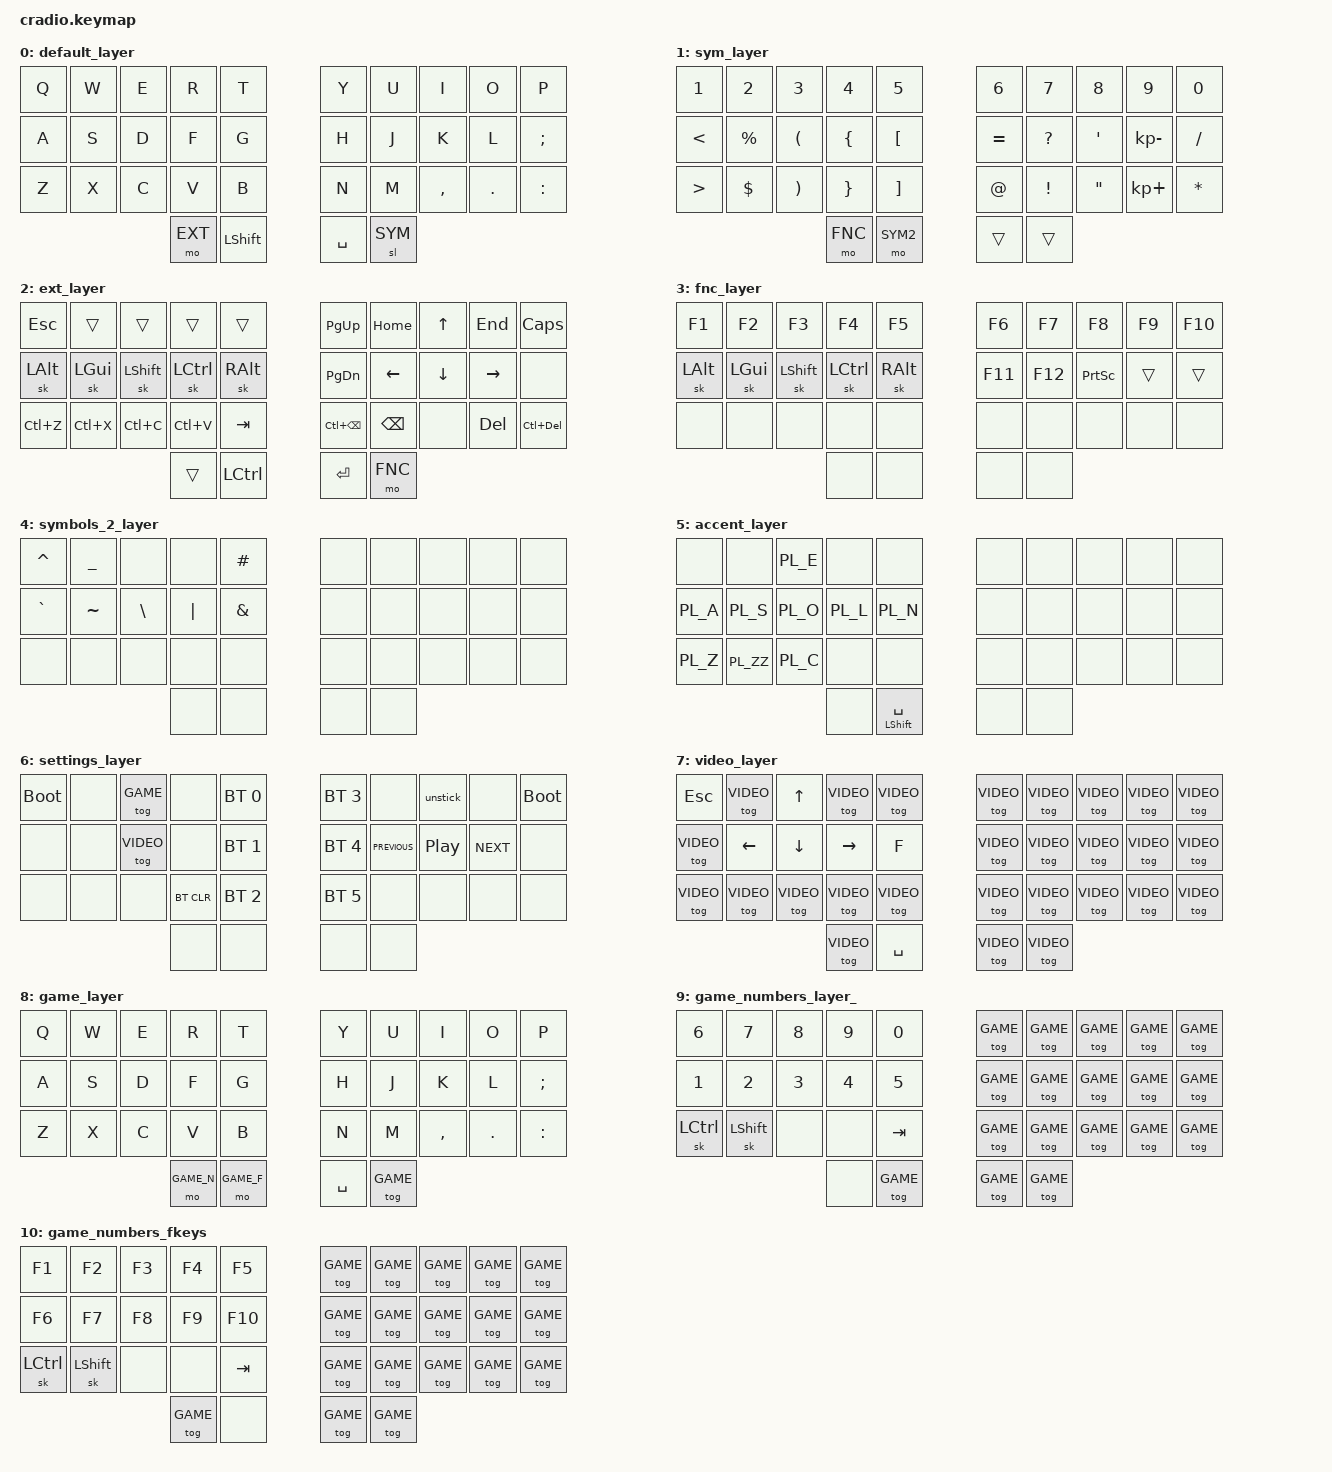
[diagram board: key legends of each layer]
/*
 * Copyright (c) 2020 The ZMK Contributors
 *
 * SPDX-License-Identifier: MIT
 */

#include <behaviors.dtsi>
#include <dt-bindings/zmk/keys.h>
#include <dt-bindings/zmk/bt.h>
#include "polish.keycodes"

// Layer definitions
    #define BASE 0
    #define SYM 1
    #define EXT 2
    #define FNC 3
    #define SYM2 4
    #define ACCENT 5
    #define SETTINGS 6
    #define VIDEO 7
    #define GAME 8
    #define GAME_N 9
    #define GAME_F 10
// -----------------

&sk {
    ignore-modifiers;
};

/ {
	macros {
			// sometimes my device thinks a modifier is being held down
			// pressing all modifiers fixes it.
			unstick: unstick {
				label = "ZM_unstick";
				compatible = "zmk,behavior-macro";
				#binding-cells = <0>;
				bindings
					= <&kp LSHIFT &kp RSHIFT &kp LCTRL &kp RCTRL &kp LALT &kp RALT &kp LGUI &kp RGUI>;
			};
	};

    combos {
        compatible = "zmk,combos";
				// both right thumb keys
        combo_accent {
            timeout-ms = <300>;
            key-positions = <32 33>;
            bindings = <&mo ACCENT>;
        };
	// internal-left & external-right thumb keys
	combo_sym2 {
			timeout-ms = <200>;
			key-positions = <31 33>;
			bindings = <&mo SYM2>;
	};
	// both left thumb keys
	combo_settings {
			timeout-ms = <300>;
			key-positions = <30 31>;
			bindings = <&mo SETTINGS>;
	};
    };

    keymap {
            compatible = "zmk,keymap";

        // Base alpha layer
       		default_layer {
			bindings = <
			&kp Q &kp W &kp E &kp R &kp T           &kp Y &kp U  &kp I     &kp O   &kp P 
			&kp A &kp S &kp D &kp F &kp G           &kp H &kp J  &kp K     &kp L   &kp SEMI
			&kp Z &kp X &kp C &kp V &kp B           &kp N &kp M  &kp COMMA &kp DOT &kp COLON
				   &mo EXT &kp LSHIFT           &kp SPACE &sl SYM
			>;
		};

        // Numbers and high frequency symbols
       		sym_layer {
			bindings = <
			&kp N1 &kp N2    &kp N3   &kp N4   &kp N5	&kp N6    &kp N7    &kp N8   &kp N9       &kp N0
			&kp LT &kp PRCNT &kp LPAR &kp LBRC &kp LBKT     &kp EQUAL &kp QMARK &kp SQT  &kp KP_MINUS &kp FSLH
			&kp GT &kp DLLR  &kp RPAR &kp RBRC &kp RBKT	&kp AT    &kp EXCL  &kp DQT &kp KP_PLUS  &kp STAR
						  &mo FNC  &mo SYM2     &trans    &trans
			>;
		};

        // Main modifiers and arrow keys
                ext_layer {
			bindings = <
			&kp ESC   &trans    &trans     &trans    &trans       &kp PG_UP    &kp HOME &kp UP   &kp END   &kp CAPS
			&sk LALT  &sk LGUI  &sk LSHIFT &sk LCTRL &sk RALT     &kp PG_DN    &kp LEFT &kp DOWN &kp RIGHT &none
			&kp LC(Z) &kp LC(X) &kp LC(C)  &kp LC(V) &kp TAB      &kp LC(BSPC) &kp BSPC &none    &kp DEL   &kp LC(DEL)
						       &trans    &kp LCTRL    &kp ENTER    &mo FNC
			>;
		};

        // Function keys with modifiers
       		fnc_layer {
			bindings = <
			&kp F1   &kp F2   &kp F3     &kp F4    &kp F5       &kp F6  &kp F7  &kp F8          &kp F9 &kp F10 
			&sk LALT &sk LGUI &sk LSHIFT &sk LCTRL &sk RALT     &kp F11 &kp F12 &kp PRINTSCREEN &trans &trans
			&none    &none    &none      &none     &none        &none   &none   &none           &none  &none 
						     &none     &none        &none   &none  
			>;
		};

        // Low frequency symbols.
       		symbols_2_layer {
			bindings = <
			&kp CARET &kp UNDER &none    &none    &kp HASH        &none &none &none &none &none 
			&kp GRAVE &kp TILDE &kp BSLH &kp PIPE &kp AMPS        &none &none &none &none &none
			&none     &none     &none    &none    &none           &none &none &none &none &none
						     &none    &none           &none &none 
			>;
		};

        // Used to type regional accents.
       		accent_layer {
			bindings = <
			&none    &none     &kp PL_E &none    &none                  &none &none &none &none &none 
			&kp PL_A &kp PL_S  &kp PL_O &kp PL_L &kp PL_N               &none &none &none &none &none
			&kp PL_Z &kp PL_ZZ &kp PL_C &none    &none                  &none &none &none &none &none
						    &none    &mt LSHIFT SPACE       &none &none 
			>;
		};

        // Used to change the keyboard's settings.
       		settings_layer {
			bindings = <
			&bootloader &none &tog GAME  &none      &bt BT_SEL 0      &bt BT_SEL 3 &none          &unstick         &none      &bootloader 
			&none       &none &tog VIDEO &none      &bt BT_SEL 1      &bt BT_SEL 4 &kp C_PREVIOUS &kp C_PLAY_PAUSE &kp C_NEXT &none
			&none       &none &none      &bt BT_CLR &bt BT_SEL 2      &bt BT_SEL 5 &none          &none            &none      &none
						     &none      &none             &none        &none 
			>;
                };
		
	// Video layout
                video_layer {
			bindings = <
			&kp ESC    &tog VIDEO &kp UP     &tog VIDEO &tog VIDEO     &tog VIDEO &tog VIDEO &tog VIDEO &tog VIDEO &tog VIDEO
			&tog VIDEO &kp LEFT   &kp DOWN   &kp RIGHT  &kp F          &tog VIDEO &tog VIDEO &tog VIDEO &tog VIDEO &tog VIDEO
			&tog VIDEO &tog VIDEO &tog VIDEO &tog VIDEO &tog VIDEO     &tog VIDEO &tog VIDEO &tog VIDEO &tog VIDEO &tog VIDEO
						         &tog VIDEO &kp SPACE      &tog VIDEO &tog VIDEO
			>;
		};
	// Game layout
		game_layer {
			bindings = <
			&kp Q &kp W &kp E &kp R      &kp T           &kp Y &kp U  &kp I     &kp O   &kp P 
			&kp A &kp S &kp D &kp F      &kp G           &kp H &kp J  &kp K     &kp L   &kp SEMI
			&kp Z &kp X &kp C &kp V      &kp B           &kp N &kp M  &kp COMMA &kp DOT &kp COLON
				          &mo GAME_N &mo GAME_F      &kp SPACE &tog GAME
			>;
		};
	// Game layout numers
		game_numbers_layer_{
			bindings = <
			&kp N6    &kp N7     &kp N8 &kp N9 &kp N0        &tog GAME &tog GAME &tog GAME &tog GAME &tog GAME
			&kp N1    &kp N2     &kp N3 &kp N4 &kp N5        &tog GAME &tog GAME &tog GAME &tog GAME &tog GAME
			&sk LCTRL &sk LSHIFT &none  &none  &kp TAB       &tog GAME &tog GAME &tog GAME &tog GAME &tog GAME
				   		    &none  &tog GAME     &tog GAME &tog GAME
			>;
		};
	// Game f keys layout
		game_numbers_fkeys {
			bindings = <
			&kp F1    &kp F2     &kp F3 &kp F4     &kp F5        &tog GAME &tog GAME &tog GAME &tog GAME &tog GAME
			&kp F6    &kp F7     &kp F8 &kp F9     &kp F10       &tog GAME &tog GAME &tog GAME &tog GAME &tog GAME
			&sk LCTRL &sk LSHIFT &none  &none      &kp TAB       &tog GAME &tog GAME &tog GAME &tog GAME &tog GAME
				   		    &tog GAME  &none         &tog GAME &tog GAME
			>;
		};
	
    };
};
